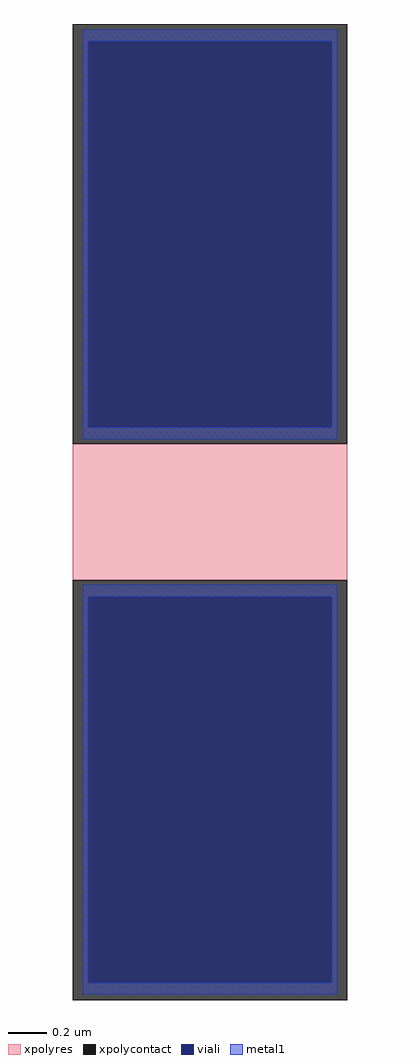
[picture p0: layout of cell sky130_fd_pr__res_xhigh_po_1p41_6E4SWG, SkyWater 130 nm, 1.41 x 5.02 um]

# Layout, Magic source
magic
tech sky130A
magscale 1 2
<< xpolycontact >>
rect -141 70 141 502
rect -141 -502 141 -70
<< xpolyres >>
rect -141 -70 141 70
<< viali >>
rect -125 87 125 484
rect -125 -484 125 -87
<< metal1 >>
rect -131 484 131 496
rect -131 87 -125 484
rect 125 87 131 484
rect -131 75 131 87
rect -131 -87 131 -75
rect -131 -484 -125 -87
rect 125 -484 131 -87
rect -131 -496 131 -484
<< properties >>
string gencell sky130_fd_pr__res_xhigh_po_1p41
string library sky130
string parameters w 1.410 l 0.861 m 1 nx 1 wmin 1.410 lmin 0.50 rho 2000 val 1.488k dummy 0 dw 0.0 term 188.2 sterm 0.0 caplen 0 wmax 1.410 guard 0 glc 1 grc 1 gtc 1 gbc 1 compatible {sky130_fd_pr__res_xhigh_po_0p35  sky130_fd_pr__res_xhigh_po_0p69 sky130_fd_pr__res_xhigh_po_1p41  sky130_fd_pr__res_xhigh_po_2p85 sky130_fd_pr__res_xhigh_po_5p73} snake 0 full_metal 1 n_guard 0 hv_guard 0 vias 1 viagb 0 viagt 0 viagl 0 viagr 0
<< end >>
